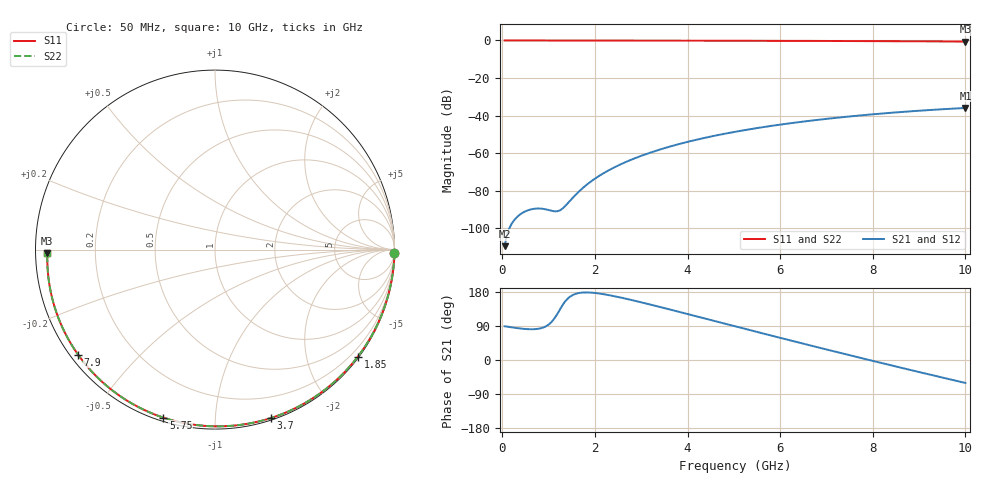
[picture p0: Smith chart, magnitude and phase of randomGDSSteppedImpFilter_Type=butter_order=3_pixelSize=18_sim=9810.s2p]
! freq	dB(S11)	phase(S11)	dB(S12)	phase(S12)
!  dB(S21)	phase(S21)	dB(S22)	phase(S22)
!S-par simulation data
#  GHz  S  DB  R 50
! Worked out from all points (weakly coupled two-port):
!   200 points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, 50 MHz to 10 GHz, reference 50 ohm
!   highest |S21| = -35.97 dB at 10 GHz (marker M1); lowest = -109.6 dB at 50 MHz (marker M2)
!   lowest |S11| = -0.6 dB at 10 GHz (marker M3), VSWR 29.44, Z = 1.7 - j0.578 ohm
!   |S11| at or under -10 dB: nowhere
!   |S22| runs from -0.6 to 0.0 dB; largest |S21 - S12| = 0
!   S11 on the Smith chart (normalised r, x): 50 MHz: open; 1.85 GHz: 0.03, -3.00; 3.7 GHz: 0.02, -1.39; 5.75 GHz: 0.02, -0.74; 7.9 GHz: 0.02, -0.34; 10 GHz: 0.03, -0.01
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0.05  -0.00 -1.0  -109.58 89.0  -109.58 89.0  -0.00 -1.0
0.4  -0.01 -8.1  -92.41 82.9  -92.41 82.9  -0.01 -8.1
0.8  -0.02 -16.1  -89.53 82.9  -89.53 82.9  -0.02 -16.1
1.2  -0.03 -24.1  -90.90 124.0  -90.90 124.0  -0.03 -24.1
1.65  -0.04 -32.9  -80.59 176.7  -80.59 176.7  -0.04 -32.9
1.7  -0.04 -33.9  -79.44 177.6  -79.44 177.6  -0.04 -33.9
1.75  -0.04 -34.9  -78.35 178.1  -78.35 178.1  -0.04 -34.9
1.85  -0.05 -36.8  -76.33 178.2  -76.33 178.2  -0.05 -36.8
2.15  -0.05 -42.6  -71.26 174.4  -71.26 174.4  -0.05 -42.6
2.5  -0.06 -49.3  -66.63 166.3  -66.63 166.3  -0.06 -49.3
2.9  -0.07 -56.8  -62.39 155.1  -62.39 155.1  -0.07 -56.8
3.4  -0.09 -66.1  -58.13 140.1  -58.13 140.1  -0.09 -66.1
3.7  -0.10 -71.5  -55.97 130.8  -55.97 130.8  -0.10 -71.5
4.35  -0.12 -83.1  -52.00 110.3  -52.00 110.3  -0.12 -83.1
5.05  -0.15 -95.2  -48.56 88.2  -48.56 88.2  -0.15 -95.2
5.75  -0.18 -107.1  -45.73 66.3  -45.73 66.3  -0.18 -107.1
6.7  -0.24 -122.8  -42.61 36.9  -42.61 36.9  -0.24 -122.8
7.3  -0.29 -132.6  -40.98 18.7  -40.98 18.7  -0.29 -132.6
7.9  -0.34 -142.5  -39.56 0.6  -39.56 0.6  -0.34 -142.5
8.35  -0.39 -150.0  -38.62 -12.7  -38.62 -12.7  -0.39 -150.0
9.2  -0.48 -164.4  -37.10 -37.6  -37.10 -37.6  -0.48 -164.4
10  -0.59 -178.7  -35.97 -60.6  -35.97 -60.6  -0.59 -178.7
